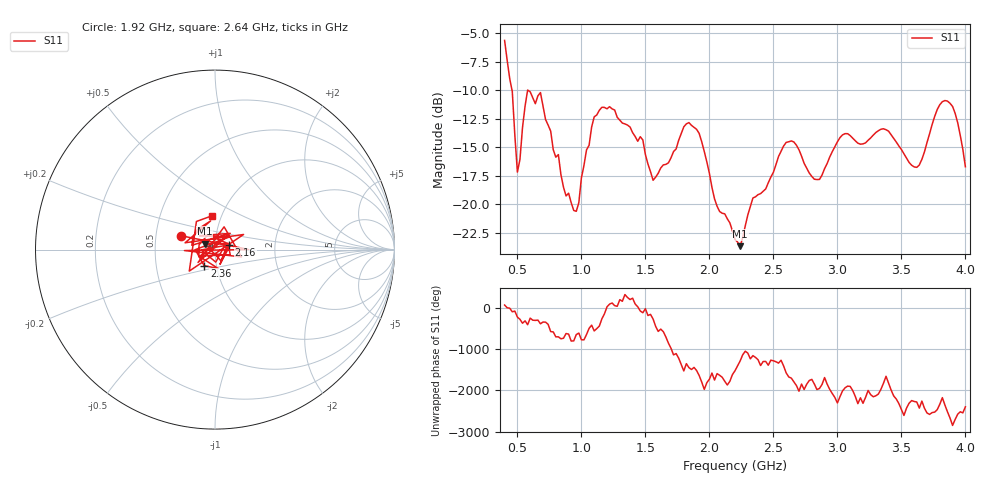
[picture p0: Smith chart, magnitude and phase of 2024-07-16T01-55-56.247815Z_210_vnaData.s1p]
!Created with skrf (http://scikit-rf.org).
# Hz S RI R 50.0
!freq ReS11 ImS11
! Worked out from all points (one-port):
!   181 points, 400 MHz to 4 GHz, reference 50 ohm
!   lowest |S11| = -23.7 dB at 2.24 GHz (marker M1), VSWR 1.14, Z = 44.6 + j3.02 ohm
!   |S11| at or under -10 dB: 458 MHz to 579.8 MHz (121.7 MHz wide, 23.5 % of centre); 581.9 MHz to end of sweep
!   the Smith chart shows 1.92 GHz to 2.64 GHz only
!   S11 on the Smith chart (normalised r, x): 1.92 GHz: 0.67, +0.11; 2.16 GHz: 1.17, +0.06; 2.36 GHz: 0.87, -0.16; 2.64 GHz: 0.90, +0.35
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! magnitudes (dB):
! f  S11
! 400 MHz  -5.6
! 460 MHz  -10.1
! 500 MHz  -17.2
! 580 MHz  -10.0
! 680 MHz  -10.2
! 860 MHz  -18.5
! 960 MHz  -20.6
! 1.1 GHz  -12.3
! 1.3 GHz  -12.6
! 1.48 GHz  -14.4
! 1.56 GHz  -17.9
! 1.76 GHz  -14.4
! 1.92 GHz  -13.8
! 2.04 GHz  -19.5
! 2.16 GHz  -21.6
! 2.2 GHz  -23.1
! 2.24 GHz  -23.7
! 2.36 GHz  -19.4
! 2.64 GHz  -14.4
! 2.66 GHz  -14.5
! 2.86 GHz  -17.8
! 3.1 GHz  -14.0
! 3.38 GHz  -13.5
! 3.56 GHz  -16.3
! 3.64 GHz  -16.6
! 3.84 GHz  -10.9
! 3.92 GHz  -12.0
! 4 GHz  -16.7
